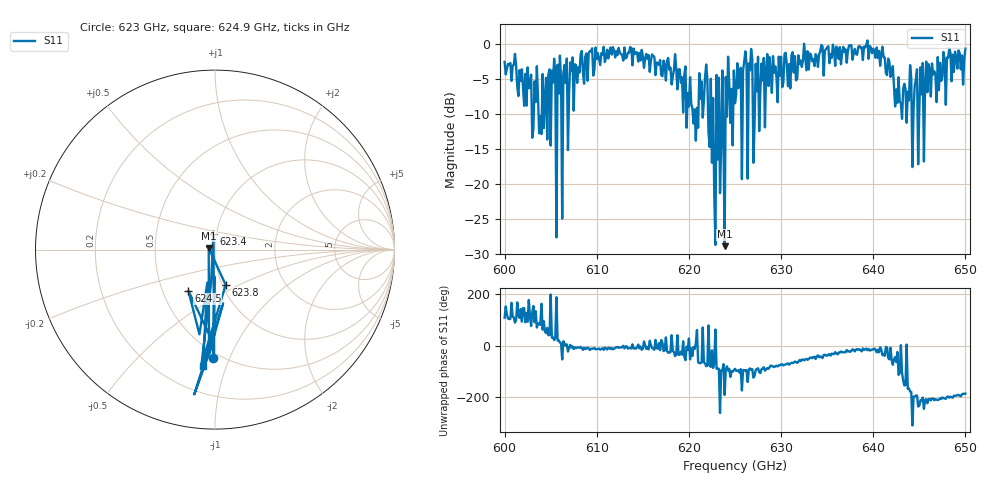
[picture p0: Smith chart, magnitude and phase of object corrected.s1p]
!Created with skrf (http://scikit-rf.org).
# GHz S MA R 50.0
!freq magS11 angS11
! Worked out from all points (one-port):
!   401 points, 600 GHz to 650 GHz, reference 50 ohm
!   lowest |S11| = -28.9 dB at 623.9 GHz (marker M1), VSWR 1.07, Z = 46.6 + j0.785 ohm
!   |S11| at or under -10 dB: 602.9533 GHz to 603.1636 GHz (210.3 MHz wide, 0.0349 % of centre); 603.6826 GHz to 604.0415 GHz (358.9 MHz wide, 0.0594 % of centre); 622.0827 GHz to 622.3101 GHz (227.5 MHz wide, 0.0366 % of centre) (the widest 3 of 32)
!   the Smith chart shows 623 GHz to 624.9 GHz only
!   S11 on the Smith chart (normalised r, x): 623 GHz: 0.46, -0.87; 623.4 GHz: 0.97, +0.17; 623.8 GHz: 1.04, -0.43; 624.5 GHz: 0.67, -0.34; 624.9 GHz: 0.37, -0.83
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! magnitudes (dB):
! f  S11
! 600 GHz  -2.5
! 604 GHz  -12.9
! 605.1 GHz  -3.8
! 605.4 GHz  -2.1
! 606.2 GHz  -24.9
! 608.2 GHz  -1.4
! 612.5 GHz  -1.2
! 618.8 GHz  -6.5
! 620.8 GHz  -13.8
! 621.8 GHz  -4.7
! 622.1 GHz  -12.6
! 622.6 GHz  -7.7
! 623 GHz  -4.4
! 623.4 GHz  -21.3
! 623.5 GHz  -14.3
! 623.6 GHz  -3.7
! 623.8 GHz  -13.8
! 623.9 GHz  -28.9
! 624.2 GHz  -1.8
! 624.5 GHz  -11.3
! 624.9 GHz  -3.7
! 625 GHz  -8.4
! 631.2 GHz  -1.1
! 637.5 GHz  -0.2
! 640.9 GHz  -1.4
! 642.9 GHz  -8.2
! 643.8 GHz  -6.8
! 650 GHz  -0.6
